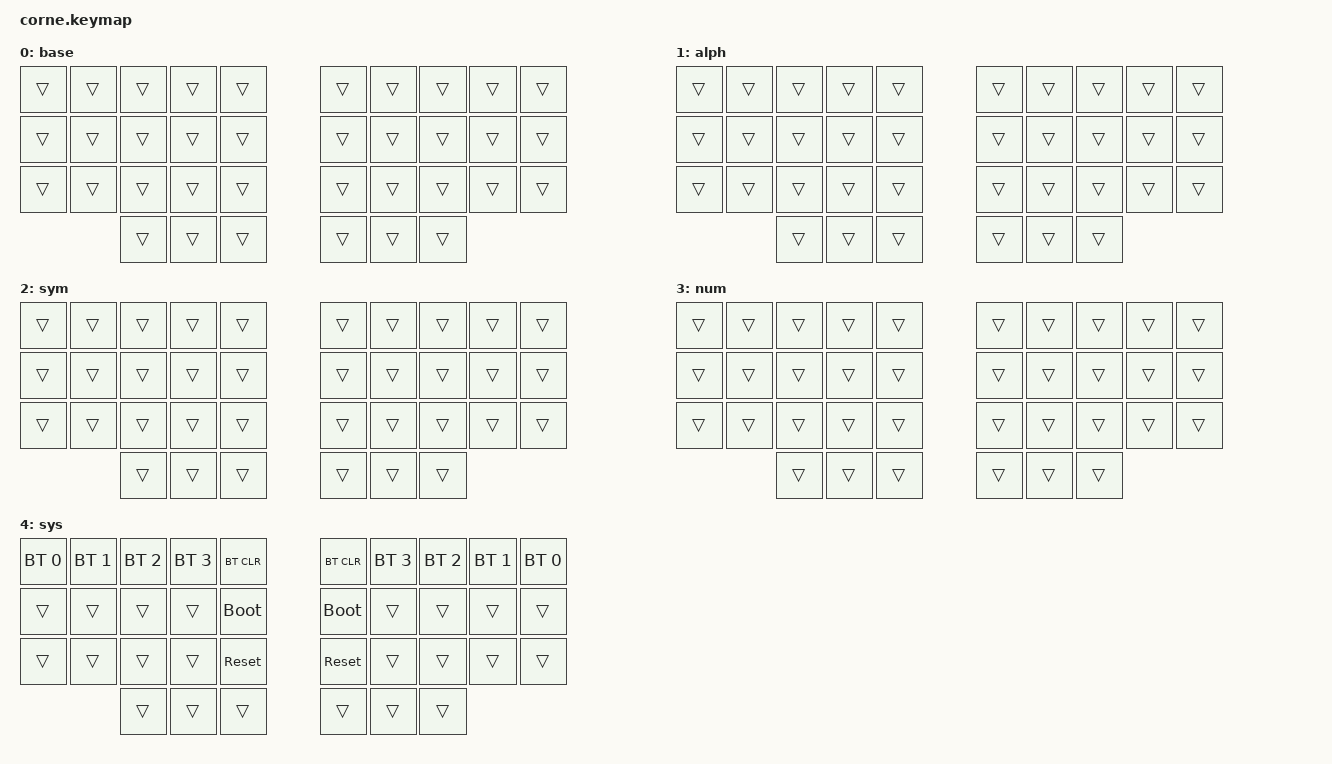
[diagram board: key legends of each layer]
/* source keypos definitions */

#include "../zmk-nodefree-config/keypos_def/keypos_36keys.h"

/* activate bluetooth */

#define CONFIG_WIRELESS 1

/* source the main keymap */

#include "base.keymap"
#include <behaviors.dtsi>
#include <dt-bindings/zmk/bt.h>

/* use 5-column layout for Zen */

/ {
    chosen { zmk,matrix_transform = &five_column_transform; };

    keymap {
        compatible = "zmk,keymap";

        base {
            bindings = <
  &trans  &trans  &trans  &trans  &trans    &trans  &trans  &trans  &trans  &trans
  &trans  &trans  &trans  &trans  &trans    &trans  &trans  &trans  &trans  &trans
  &trans  &trans  &trans  &trans  &trans    &trans  &trans  &trans  &trans  &trans
                  &trans  &trans  &trans    &trans  &trans  &trans
            >;
        };

        alph {
            bindings = <
  &trans  &trans  &trans  &trans  &trans    &trans  &trans  &trans  &trans  &trans
  &trans  &trans  &trans  &trans  &trans    &trans  &trans  &trans  &trans  &trans
  &trans  &trans  &trans  &trans  &trans    &trans  &trans  &trans  &trans  &trans
                  &trans  &trans  &trans    &trans  &trans  &trans
            >;
        };

        sym {
            bindings = <
  &trans  &trans  &trans  &trans  &trans    &trans  &trans  &trans  &trans  &trans
  &trans  &trans  &trans  &trans  &trans    &trans  &trans  &trans  &trans  &trans
  &trans  &trans  &trans  &trans  &trans    &trans  &trans  &trans  &trans  &trans
                  &trans  &trans  &trans    &trans  &trans  &trans
            >;
        };

        num {
            bindings = <
  &trans  &trans  &trans  &trans  &trans    &trans  &trans  &trans  &trans  &trans
  &trans  &trans  &trans  &trans  &trans    &trans  &trans  &trans  &trans  &trans
  &trans  &trans  &trans  &trans  &trans    &trans  &trans  &trans  &trans  &trans
                  &trans  &trans  &trans    &trans  &trans  &trans
            >;
        };

        sys {
            bindings = <
  &bt BT_SEL 0  &bt BT_SEL 1  &bt BT_SEL 2  &bt BT_SEL 3  &bt BT_CLR     &bt BT_CLR   &bt BT_SEL 3  &bt BT_SEL 2  &bt BT_SEL 1  &bt BT_SEL 0
  &trans        &trans        &trans        &trans        &bootloader    &bootloader  &trans        &trans        &trans        &trans
  &trans        &trans        &trans        &trans        &sys_reset     &sys_reset   &trans        &trans        &trans        &trans
                              &trans        &trans        &trans         &trans       &trans        &trans
            >;
        };
    };
};
